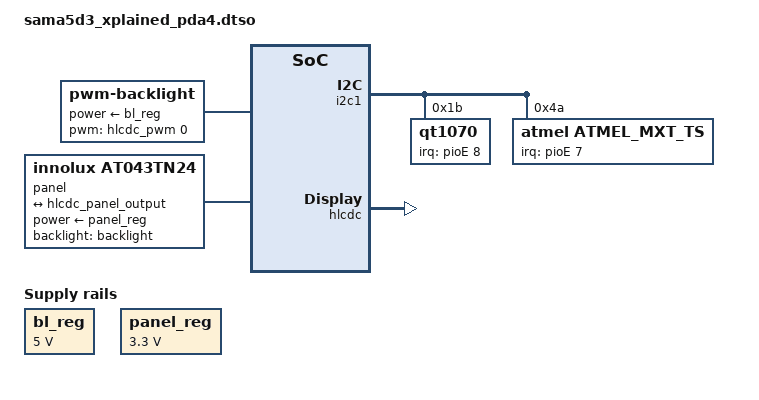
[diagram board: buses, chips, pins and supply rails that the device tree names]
// SPDX-License-Identifier: (GPL-2.0+ OR MIT)
/*
 * at91-sama5d3_xplained_pda4.dtso - Device Tree file for SAMA5D3 Xplained board
 * overlay blob for PDA TM4300 LCD screen.
 *
 * Copyright (C) 2018 Microchip Technology, Inc.
 * Author: Eugen Hristev <eugen.hristev@microchip.com>
 *
 */
/dts-v1/;
/plugin/;

#include "dt-bindings/pinctrl/at91.h"

&i2c1 {
	#address-cells = <1>;
	#size-cells = <0>;
	qt1070: keyboard@1b {
		compatible = "qt1070";
		reg = <0x1b>;
		interrupt-parent = <&pioE>;
		interrupts = <8 0x0>;
		pinctrl-names = "default";
		pinctrl-0 = <&pinctrl_qt1070_irq>;
		wakeup-source;
		status = "okay";
	};

	atmel_mxt_ts@4a {
		compatible = "atmel,atmel_mxt_ts";
		reg = <0x4a>;
		interrupt-parent = <&pioE>;
		interrupts = <7 0x0>;
		pinctrl-names = "default";
		pinctrl-0 = <&pinctrl_mxt_irq>;
		status = "okay";
	};
};

&hlcdc {
	status = "okay";

	hlcdc-display-controller {
		pinctrl-names = "default";
		pinctrl-0 = <&pinctrl_lcd_base &pinctrl_lcd_rgb888_alt>;
		port@0 {
			#address-cells = <1>;
			#size-cells = <0>;
			hlcdc_panel_output: endpoint@0 {
				reg = <0>;
				remote-endpoint = <&panel_input>;
			};
		};
	};
};

&pinctrl {
	board {
		pinctrl_qt1070_irq: pinctrl_qt1070_irq {
			atmel,pins =
				<AT91_PIOE 8 AT91_PERIPH_GPIO AT91_PINCTRL_PULL_UP_DEGLITCH>;
		};

		pinctrl_mxt_irq: pinctrl_mxt_irq {
			atmel,pins =
				<AT91_PIOE 7 AT91_PERIPH_GPIO AT91_PINCTRL_PULL_UP_DEGLITCH>;
		};
	};
};

&{/} {
	model = "Atmel SAMA5D3 Xplained TM43xx";

	backlight: backlight {
		compatible = "pwm-backlight";
		pwms = <&hlcdc_pwm 0 50000 0>;
		brightness-levels = <0 4 8 16 32 64 128 255>;
		default-brightness-level = <7>;
		power-supply = <&bl_reg>;
		status = "okay";
	};

	bl_reg: backlight_regulator {
		compatible = "regulator-fixed";
		regulator-name = "backlight-power-supply";
		regulator-min-microvolt = <5000000>;
		regulator-max-microvolt = <5000000>;
		status = "okay";
	};

	panel: panel {
		compatible = "innolux,at043tn24", "simple-panel";
		backlight = <&backlight>;
		power-supply = <&panel_reg>;
		#address-cells = <1>;
		#size-cells = <0>;
		status = "okay";

		port@0 {
			reg = <0>;
			#address-cells = <1>;
			#size-cells = <0>;

			panel_input: endpoint@0 {
				reg = <0>;
				remote-endpoint = <&hlcdc_panel_output>;
			};
		};
	};

	panel_reg: panel_regulator {
		compatible = "regulator-fixed";
		regulator-name = "panel-power-supply";
		regulator-min-microvolt = <3300000>;
		regulator-max-microvolt = <3300000>;
		status = "okay";
	};
};

